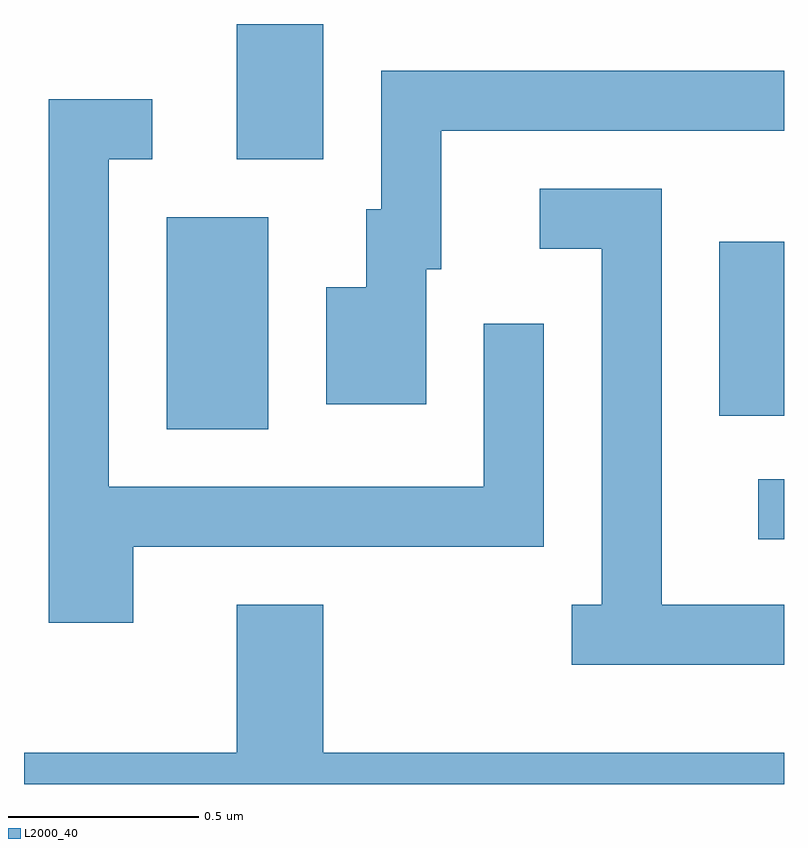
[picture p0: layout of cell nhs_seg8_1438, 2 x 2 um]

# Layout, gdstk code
import gdstk
lib = gdstk.Library(unit=1e-6, precision=1e-09)
def R(c, l, rs):  # rectangles x0, y0, x1, y1
    for r in rs: c.add(gdstk.rectangle(r[:2], r[2:], *l))
def P(c, l, *ps):  # polygons
    for p in ps: c.add(gdstk.Polygon(p, *l))
L2000_40 = (2000, 40)

nhs_seg8_1438 = lib.new_cell('nhs_seg8_1438')
R(nhs_seg8_1438, L2000_40, [(197.543,1874.986,197.611,1875.144), (195.986,1875.276,196.254,1875.834), (197.441,1875.311,197.611,1875.769), (196.171,1875.986,196.399,1876.342)])
P(nhs_seg8_1438, L2000_40, [(196.669,1875.696),(196.709,1875.696),(196.709,1876.061),(197.611,1876.061),(197.611,1876.219),(196.551,1876.219),(196.551,1875.854),(196.511,1875.854),(196.511,1875.649),(196.406,1875.649),(196.406,1875.341),(196.669,1875.341)],
  [(195.899,1874.966),(196.979,1874.966),(196.979,1875.553),(196.821,1875.553),(196.821,1875.124),(195.834,1875.124),(195.834,1875.986),(195.948,1875.986),(195.948,1876.144),(195.676,1876.144),(195.676,1874.766),(195.899,1874.766)],
  [(197.611,1874.814),(197.289,1874.814),(197.289,1875.909),(196.968,1875.909),(196.968,1875.751),(197.131,1875.751),(197.131,1874.814),(197.053,1874.814),(197.053,1874.656),(197.611,1874.656)],
  [(197.611,1874.424),(196.399,1874.424),(196.399,1874.814),(196.171,1874.814),(196.171,1874.424),(195.611,1874.424),(195.611,1874.342),(197.611,1874.342)])

lib.write_gds('nhs_seg8_1438.gds')
